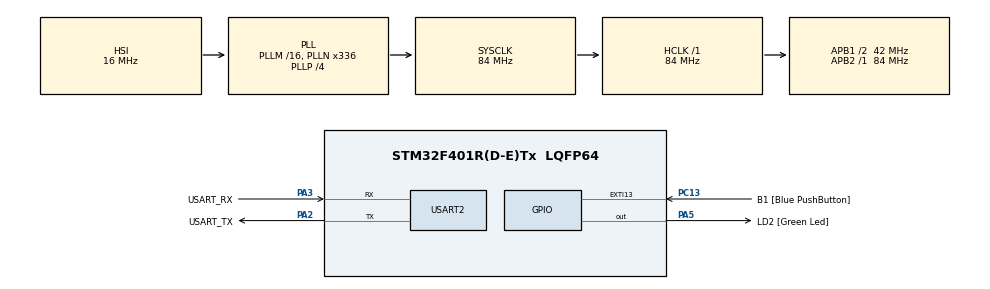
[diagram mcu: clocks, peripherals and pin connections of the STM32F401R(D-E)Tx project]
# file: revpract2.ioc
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Mcu.Family=STM32F4
Mcu.Name=STM32F401R(D-E)Tx
Mcu.Package=LQFP64
NVIC.PriorityGroup=NVIC_PRIORITYGROUP_0
PA13.GPIO_Label=TMS
PA13.Mode=Serial_Wire
PA13.Signal=SYS_JTMS-SWDIO
PA14.GPIO_Label=TCK
PA14.Mode=Serial_Wire
PA14.Signal=SYS_JTCK-SWCLK
PA2.GPIO_Label=USART_TX
PA2.GPIO_Mode=GPIO_MODE_AF_PP
PA2.GPIO_PuPd=GPIO_NOPULL
PA2.GPIO_Speed=GPIO_SPEED_FREQ_LOW
PA2.Mode=Asynchronous
PA2.Signal=USART2_TX
PA3.GPIO_Label=USART_RX
PA3.GPIO_Mode=GPIO_MODE_AF_PP
PA3.GPIO_PuPd=GPIO_NOPULL
PA3.GPIO_Speed=GPIO_SPEED_FREQ_LOW
PA3.Mode=Asynchronous
PA3.Signal=USART2_RX
PA5.GPIO_Label=LD2 [Green Led]
PA5.GPIO_Mode=GPIO_MODE_OUTPUT_PP
PA5.GPIO_PuPd=GPIO_NOPULL
PA5.GPIO_Speed=GPIO_SPEED_FREQ_LOW
PA5.Signal=GPIO_Output
PB3.GPIO_Label=SWO
PB3.Signal=SYS_JTDO-SWO
PC13-ANTI_TAMP.GPIO_Label=B1 [Blue PushButton]
PC13-ANTI_TAMP.GPIO_ModeDefaultEXTI=GPIO_MODE_IT_FALLING
PC13-ANTI_TAMP.GPIO_PuPd=GPIO_NOPULL
PC13-ANTI_TAMP.Signal=GPXTI13
PC14-OSC32_IN.Mode=LSE-External-Oscillator
PC14-OSC32_IN.Signal=RCC_OSC32_IN
PC15-OSC32_OUT.Mode=LSE-External-Oscillator
PC15-OSC32_OUT.Signal=RCC_OSC32_OUT
PH0\ -\ OSC_IN.Mode=HSE-External-Clock-Source
PH0\ -\ OSC_IN.Signal=RCC_OSC_IN
PH1\ -\ OSC_OUT.Mode=HSE-External-Clock-Source
PH1\ -\ OSC_OUT.Signal=RCC_OSC_OUT
ProjectManager.HeapSize=0x200
ProjectManager.StackSize=0x400
ProjectManager.TargetToolchain=STM32CubeIDE
RCC.48MHZClocksFreq_Value=48000000
RCC.AHBFreq_Value=84000000
RCC.APB1CLKDivider=RCC_HCLK_DIV2
RCC.APB1Freq_Value=42000000
RCC.APB1TimFreq_Value=84000000
RCC.APB2Freq_Value=84000000
RCC.APB2TimFreq_Value=84000000
RCC.CortexFreq_Value=84000000
RCC.HCLKFreq_Value=84000000
RCC.HSE_VALUE=8000000
RCC.HSI_VALUE=16000000
RCC.PLLN=336
RCC.PLLP=RCC_PLLP_DIV4
RCC.PLLQ=7
RCC.SYSCLKFreq_VALUE=84000000
RCC.SYSCLKSource=RCC_SYSCLKSOURCE_PLLCLK
RCC.VCOOutputFreq_Value=336000000
USART2.VirtualMode=VM_ASYNC
board=NUCLEO-F401RE

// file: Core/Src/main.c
/* USER CODE BEGIN Header */
/**
  ******************************************************************************
  * @file           : main.c
  * @brief          : Main program body
  ******************************************************************************
  * @attention
  *
  * Copyright (c) 2023 STMicroelectronics.
  * All rights reserved.
  *
  * This software is licensed under terms that can be found in the LICENSE file
  * in the root directory of this software component.
  * If no LICENSE file comes with this software, it is provided AS-IS.
  *
  ******************************************************************************
  */
/* USER CODE END Header */
#include "main.h"
#include <stdint.h>
#include <stdbool.h>

/* USER CODE BEGIN PTD */
typedef uint32_t tick_t; //
typedef bool bool_t;	  //

typedef struct {
   tick_t startTime;
   tick_t duration;
   bool_t running;
} delay_t;

/* USER CODE END PTD */

UART_HandleTypeDef huart2;

/* USER CODE BEGIN PV */
delay_t delay;
tick_t duracion = 100;
/* USER CODE END PV */

void SystemClock_Config(void);
static void MX_GPIO_Init(void);
static void MX_USART2_UART_Init(void);
/* USER CODE BEGIN PFP */

void delayInit( delay_t* delay, tick_t duration ){
	delay->duration = duration;
	delay->running = false;
	delay->startTime = HAL_GetTick();
};

bool_t delayRead( delay_t* delay ){

	if ((HAL_GetTick()-delay->startTime)<=delay->duration) {
		delay->running = false;
	}else{
		delay->running = true;
	}

	return delay->running;
}

void delayWrite( delay_t * delay, tick_t duration ){
	delay->duration = duration;
	delay->running = false;
	delay->startTime = HAL_GetTick();
};

/* USER CODE END PFP */

int main(void)
{

  /* MCU Configuration--------------------------------------------------------*/

  /* Reset of all peripherals, Initializes the Flash interface and the Systick. */
  HAL_Init();

  /* Configure the system clock */
  SystemClock_Config();

  /* Initialize all configured peripherals */
  MX_GPIO_Init();
  MX_USART2_UART_Init();
  /* USER CODE BEGIN 2 */
  delayInit(&delay, duracion);                      //INICIALIZO POR PRIMERA VEZ EL DELAY
  /* USER CODE END 2 */

  /* Infinite loop */
  /* USER CODE BEGIN WHILE */
  while (1)
  {
	  if (delayRead(&delay) == 1) {
	 		HAL_GPIO_TogglePin(LD2_GPIO_Port, LD2_Pin);  //CAMBIO EL ESTADO DEL LED EN EL PIN 13
	 		delayInit(&delay, duracion);
	 	} else {

	 	}
    /* USER CODE END WHILE */

  }
}

void SystemClock_Config(void)
{
  RCC_OscInitTypeDef RCC_OscInitStruct = {0};
  RCC_ClkInitTypeDef RCC_ClkInitStruct = {0};

  /** Configure the main internal regulator output voltage
  */
  __HAL_RCC_PWR_CLK_ENABLE();
  __HAL_PWR_VOLTAGESCALING_CONFIG(PWR_REGULATOR_VOLTAGE_SCALE2);

  /** Initializes the RCC Oscillators according to the specified parameters
  * in the RCC_OscInitTypeDef structure.
  */
  RCC_OscInitStruct.OscillatorType = RCC_OSCILLATORTYPE_HSI;
  RCC_OscInitStruct.HSIState = RCC_HSI_ON;
  RCC_OscInitStruct.HSICalibrationValue = RCC_HSICALIBRATION_DEFAULT;
  RCC_OscInitStruct.PLL.PLLState = RCC_PLL_ON;
  RCC_OscInitStruct.PLL.PLLSource = RCC_PLLSOURCE_HSI;
  RCC_OscInitStruct.PLL.PLLM = 16;
  RCC_OscInitStruct.PLL.PLLN = 336;
  RCC_OscInitStruct.PLL.PLLP = RCC_PLLP_DIV4;
  RCC_OscInitStruct.PLL.PLLQ = 7;
  if (HAL_RCC_OscConfig(&RCC_OscInitStruct) != HAL_OK)
  {
    Error_Handler();
  }

  /** Initializes the CPU, AHB and APB buses clocks
  */
  RCC_ClkInitStruct.ClockType = RCC_CLOCKTYPE_HCLK|RCC_CLOCKTYPE_SYSCLK
                              |RCC_CLOCKTYPE_PCLK1|RCC_CLOCKTYPE_PCLK2;
  RCC_ClkInitStruct.SYSCLKSource = RCC_SYSCLKSOURCE_PLLCLK;
  RCC_ClkInitStruct.AHBCLKDivider = RCC_SYSCLK_DIV1;
  RCC_ClkInitStruct.APB1CLKDivider = RCC_HCLK_DIV2;
  RCC_ClkInitStruct.APB2CLKDivider = RCC_HCLK_DIV1;

  if (HAL_RCC_ClockConfig(&RCC_ClkInitStruct, FLASH_LATENCY_2) != HAL_OK)
  {
    Error_Handler();
  }
}

static void MX_USART2_UART_Init(void)
{

  huart2.Instance = USART2;
  huart2.Init.BaudRate = 115200;
  huart2.Init.WordLength = UART_WORDLENGTH_8B;
  huart2.Init.StopBits = UART_STOPBITS_1;
  huart2.Init.Parity = UART_PARITY_NONE;
  huart2.Init.Mode = UART_MODE_TX_RX;
  huart2.Init.HwFlowCtl = UART_HWCONTROL_NONE;
  huart2.Init.OverSampling = UART_OVERSAMPLING_16;
  if (HAL_UART_Init(&huart2) != HAL_OK)
  {
    Error_Handler();
  }

}

static void MX_GPIO_Init(void)
{
  GPIO_InitTypeDef GPIO_InitStruct = {0};

  /* GPIO Ports Clock Enable */
  __HAL_RCC_GPIOC_CLK_ENABLE();
  __HAL_RCC_GPIOH_CLK_ENABLE();
  __HAL_RCC_GPIOA_CLK_ENABLE();
  __HAL_RCC_GPIOB_CLK_ENABLE();

  /*Configure GPIO pin Output Level */
  HAL_GPIO_WritePin(LD2_GPIO_Port, LD2_Pin, GPIO_PIN_RESET);

  /*Configure GPIO pin : B1_Pin */
  GPIO_InitStruct.Pin = B1_Pin;
  GPIO_InitStruct.Mode = GPIO_MODE_IT_FALLING;
  GPIO_InitStruct.Pull = GPIO_NOPULL;
  HAL_GPIO_Init(B1_GPIO_Port, &GPIO_InitStruct);

  /*Configure GPIO pin : LD2_Pin */
  GPIO_InitStruct.Pin = LD2_Pin;
  GPIO_InitStruct.Mode = GPIO_MODE_OUTPUT_PP;
  GPIO_InitStruct.Pull = GPIO_NOPULL;
  GPIO_InitStruct.Speed = GPIO_SPEED_FREQ_LOW;
  HAL_GPIO_Init(LD2_GPIO_Port, &GPIO_InitStruct);

}

void Error_Handler(void)
{
  __disable_irq();
  while (1)
  {
  }
}
